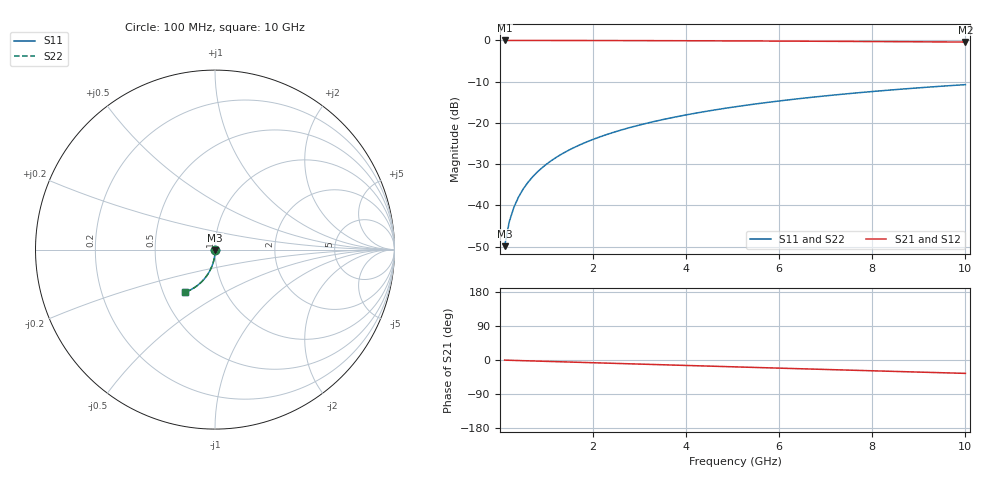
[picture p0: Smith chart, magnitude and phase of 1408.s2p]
# Hz S RI R 50.00
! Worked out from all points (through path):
!   100 points, 100 MHz to 10 GHz, reference 50 ohm
!   highest |S21| = 0.00 dB at 100 MHz (marker M1); lowest = -0.4 dB at 10 GHz (marker M2)
!   group delay of S21, straight-line fit = 9.83 ps
!   lowest |S11| = -49.9 dB at 100 MHz (marker M3), VSWR 1.01, Z = 50 - j0.317 ohm
!   |S11| at or under -10 dB: start of sweep to end of sweep
!   |S22| runs from -49.9 to -10.7 dB; largest |S21 - S12| = 0
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1e8  0.000503 -0.00317  0.9994 -0.00628  0.9994 -0.00628  0.000503 -0.00317
2e8  0.000443 -0.00633  0.9994 -0.0126  0.9994 -0.0126  0.000443 -0.00633
3e8  0.000342 -0.0095  0.9992 -0.0188  0.9992 -0.0188  0.000342 -0.0095
4e8  0.0002 -0.0127  0.999 -0.0251  0.999 -0.0251  0.0002 -0.0127
5e8  1.84e-05 -0.0158  0.9988 -0.0314  0.9988 -0.0314  1.84e-05 -0.0158
6e8  -0.000203 -0.019  0.9985 -0.0377  0.9985 -0.0377  -0.000203 -0.019
7e8  -0.000464 -0.0221  0.9982 -0.0439  0.9982 -0.0439  -0.000464 -0.0221
8e8  -0.000765 -0.0253  0.9978 -0.0502  0.9978 -0.0502  -0.000765 -0.0253
9e8  -0.00111 -0.0284  0.9974 -0.0565  0.9974 -0.0565  -0.00111 -0.0284
1.1e9  -0.00191 -0.0347  0.9964 -0.069  0.9964 -0.069  -0.00191 -0.0347
1.4e9  -0.0034 -0.0441  0.9945 -0.0877  0.9945 -0.0877  -0.0034 -0.0441
1.8e9  -0.00594 -0.0565  0.9914 -0.1126  0.9914 -0.1126  -0.00594 -0.0565
2.1e9  -0.00826 -0.0658  0.9885 -0.1311  0.9885 -0.1311  -0.00826 -0.0658
2.5e9  -0.0119 -0.0779  0.984 -0.1558  0.984 -0.1558  -0.0119 -0.0779
2.9e9  -0.0161 -0.0898  0.9787 -0.1802  0.9787 -0.1802  -0.0161 -0.0898
3.4e9  -0.0222 -0.1044  0.971 -0.2104  0.971 -0.2104  -0.0222 -0.1044
4.2e9  -0.0338 -0.1268  0.9564 -0.2578  0.9564 -0.2578  -0.0338 -0.1268
5.1e9  -0.0493 -0.1503  0.9367 -0.3096  0.9367 -0.3096  -0.0493 -0.1503
5.9e9  -0.0652 -0.1696  0.9165 -0.354  0.9165 -0.354  -0.0652 -0.1696
6.7e9  -0.0827 -0.1871  0.8938 -0.3967  0.8938 -0.3967  -0.0827 -0.1871
8.4e9  -0.1246 -0.2177  0.8388 -0.4812  0.8388 -0.4812  -0.1246 -0.2177
1e10  -0.1681 -0.2378  0.7798 -0.5522  0.7798 -0.5522  -0.1681 -0.2378
